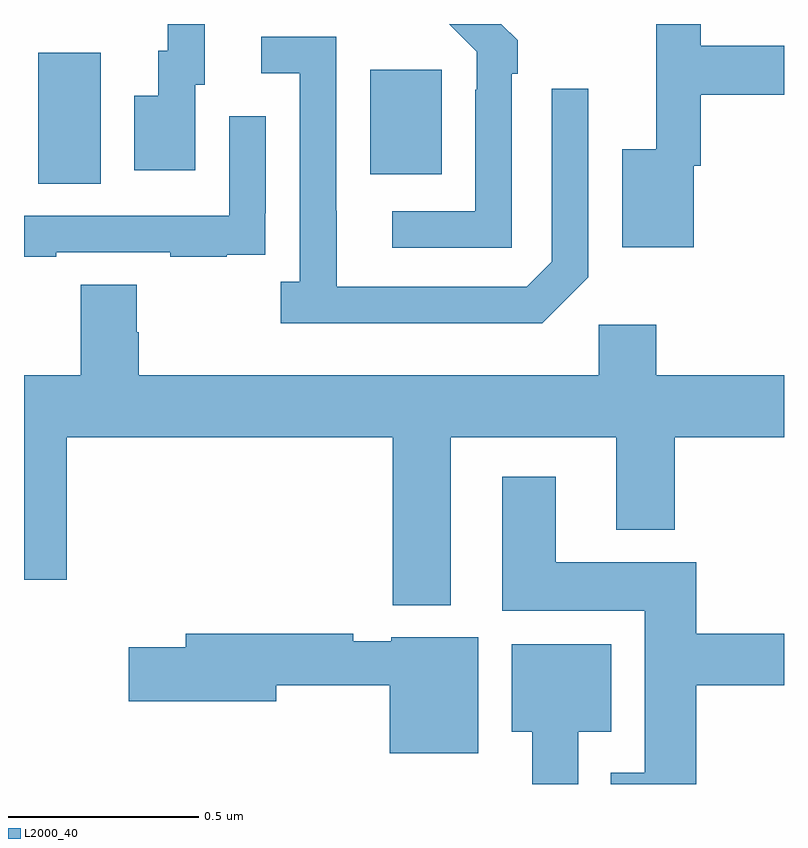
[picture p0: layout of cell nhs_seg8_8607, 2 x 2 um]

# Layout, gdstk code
import gdstk
lib = gdstk.Library(unit=1e-6, precision=1e-09)
def R(c, l, rs):  # rectangles x0, y0, x1, y1
    for r in rs: c.add(gdstk.rectangle(r[:2], r[2:], *l))
def P(c, l, *ps):  # polygons
    for p in ps: c.add(gdstk.Polygon(p, *l))
L2000_40 = (2000, 40)

nhs_seg8_8607 = lib.new_cell('nhs_seg8_8607')
R(nhs_seg8_8607, L2000_40, [(225.038,1138.48,225.202,1138.824), (225.911,1138.505,226.099,1138.78)])
P(nhs_seg8_8607, L2000_40, [(226.762,1138.527),(226.781,1138.527),(226.781,1138.714),(227,1138.714),(227,1138.843),(226.781,1138.843),(226.781,1138.9),(226.664,1138.9),(226.664,1138.57),(226.574,1138.57),(226.574,1138.313),(226.762,1138.313)],
  [(225.451,1138.74),(225.475,1138.74),(225.475,1138.9),(225.378,1138.9),(225.378,1138.83),(225.353,1138.83),(225.353,1138.711),(225.29,1138.711),(225.29,1138.515),(225.451,1138.515)],
  [(226.284,1138.769),(226.299,1138.769),(226.299,1138.857),(226.256,1138.9),(226.119,1138.9),(226.191,1138.827),(226.191,1138.727),(226.188,1138.727),(226.188,1138.407),(225.969,1138.407),(225.969,1138.311),(226.284,1138.311)],
  [(226.485,1138.233),(226.485,1138.729),(226.389,1138.729),(226.389,1138.275),(226.323,1138.209),(225.823,1138.209),(225.823,1138.409),(225.822,1138.409),(225.822,1138.866),(225.624,1138.866),(225.624,1138.77),(225.726,1138.77),(225.726,1138.222),(225.675,1138.222),(225.675,1138.112),(226.364,1138.112)],
  [(225.085,1138.299),(225.385,1138.299),(225.385,1138.287),(225.533,1138.287),(225.533,1138.293),(225.635,1138.293),(225.635,1138.402),(225.636,1138.402),(225.636,1138.657),(225.54,1138.657),(225.54,1138.395),(225,1138.395),(225,1138.287),(225.085,1138.287)],
  [(226.664,1138.108),(226.512,1138.108),(226.512,1137.976),(225.302,1137.976),(225.302,1138.089),(225.297,1138.089),(225.297,1138.214),(225.149,1138.214),(225.149,1137.976),(225,1137.976),(225,1137.438),(225.112,1137.438),(225.112,1137.812),(225.971,1137.812),(225.971,1137.371),(226.123,1137.371),(226.123,1137.812),(226.559,1137.812),(226.559,1137.569),(226.712,1137.569),(226.712,1137.812),(227,1137.812),(227,1137.976),(226.664,1137.976)],
  [(226.769,1137.16),(227,1137.16),(227,1137.296),(226.769,1137.296),(226.769,1137.484),(226.399,1137.484),(226.399,1137.709),(226.259,1137.709),(226.259,1137.356),(226.634,1137.356),(226.634,1136.929),(226.544,1136.929),(226.544,1136.9),(226.769,1136.9)],
  [(226.195,1137.286),(225.966,1137.286),(225.966,1137.276),(225.866,1137.276),(225.866,1137.296),(225.425,1137.296),(225.425,1137.26),(225.276,1137.26),(225.276,1137.118),(225.664,1137.118),(225.664,1137.16),(225.962,1137.16),(225.962,1136.981),(226.195,1136.981)],
  [(226.459,1137.038),(226.546,1137.038),(226.546,1137.268),(226.283,1137.268),(226.283,1137.038),(226.337,1137.038),(226.337,1136.9),(226.459,1136.9)])

lib.write_gds('nhs_seg8_8607.gds')
